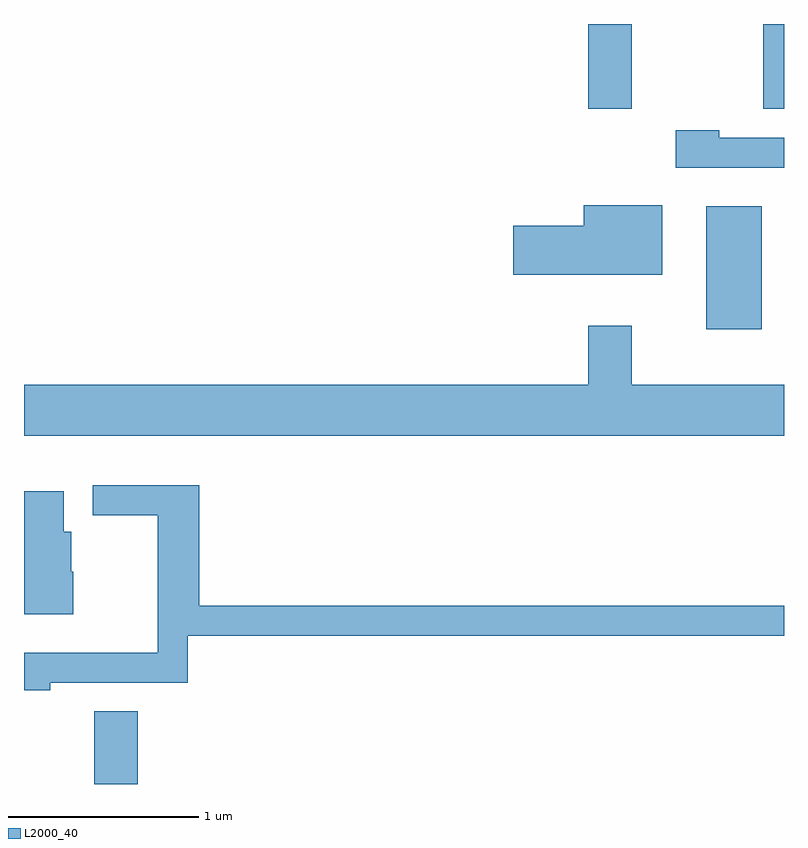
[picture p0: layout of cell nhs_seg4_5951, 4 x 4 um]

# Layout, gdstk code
import gdstk
lib = gdstk.Library(unit=1e-6, precision=1e-09)
def R(c, l, rs):  # rectangles x0, y0, x1, y1
    for r in rs: c.add(gdstk.rectangle(r[:2], r[2:], *l))
def P(c, l, *ps):  # polygons
    for p in ps: c.add(gdstk.Polygon(p, *l))
L2000_40 = (2000, 40)

nhs_seg4_5951 = lib.new_cell('nhs_seg4_5951')
R(nhs_seg4_5951, L2000_40, [(359.981,1323.982,360.209,1324.364), (363.201,1326.376,363.494,1327.024), (362.581,1327.536,362.809,1327.982), (363.501,1327.536,363.611,1327.982)])
P(nhs_seg4_5951, L2000_40, [(363.611,1327.384),(363.269,1327.384),(363.269,1327.424),(363.041,1327.424),(363.041,1327.226),(363.611,1327.226)],
  [(362.969,1327.029),(362.556,1327.029),(362.556,1326.919),(362.186,1326.919),(362.186,1326.661),(362.969,1326.661)],
  [(363.611,1326.084),(362.809,1326.084),(362.809,1326.394),(362.581,1326.394),(362.581,1326.084),(359.611,1326.084),(359.611,1325.816),(363.611,1325.816)],
  [(359.749,1324.516),(360.474,1324.516),(360.474,1324.761),(363.611,1324.761),(363.611,1324.919),(360.534,1324.919),(360.534,1325.554),(359.973,1325.554),(359.973,1325.396),(360.316,1325.396),(360.316,1324.674),(359.611,1324.674),(359.611,1324.476),(359.749,1324.476)],
  [(359.869,1325.1),(359.859,1325.1),(359.859,1325.309),(359.819,1325.309),(359.819,1325.524),(359.611,1325.524),(359.611,1324.876),(359.869,1324.876)])

lib.write_gds('nhs_seg4_5951.gds')
